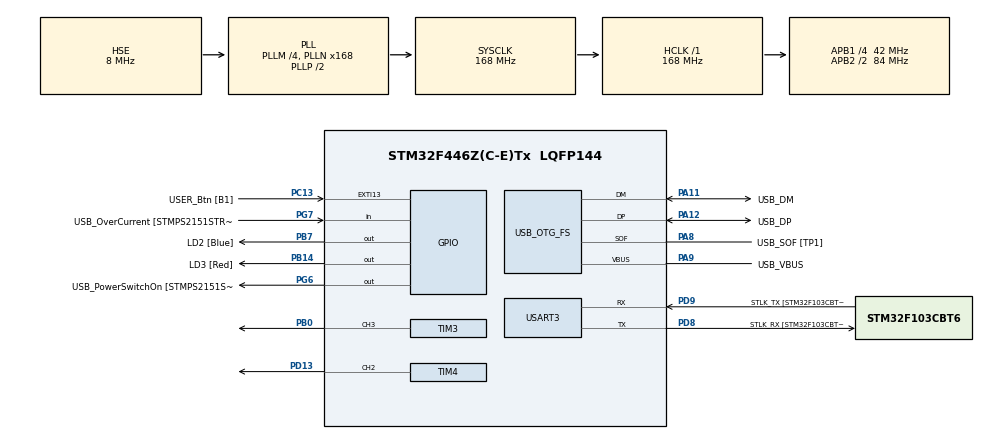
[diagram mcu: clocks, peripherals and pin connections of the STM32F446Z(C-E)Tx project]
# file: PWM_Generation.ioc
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Mcu.Family=STM32F4
Mcu.Name=STM32F446Z(C-E)Tx
Mcu.Package=LQFP144
NVIC.PriorityGroup=NVIC_PRIORITYGROUP_4
PA10.GPIO_Label=USB_ID
PA10.Signal=USB_OTG_FS_ID
PA11.GPIO_Label=USB_DM
PA11.Mode=Device_Only
PA11.Signal=USB_OTG_FS_DM
PA12.GPIO_Label=USB_DP
PA12.Mode=Device_Only
PA12.Signal=USB_OTG_FS_DP
PA13.GPIO_Label=TMS
PA13.Mode=Serial_Wire
PA13.Signal=SYS_JTMS-SWDIO
PA14.GPIO_Label=TCK
PA14.Mode=Serial_Wire
PA14.Signal=SYS_JTCK-SWCLK
PA8.GPIO_Label=USB_SOF [TP1]
PA8.Mode=Activate_SOF_FS
PA8.Signal=USB_OTG_FS_SOF
PA9.GPIO_Label=USB_VBUS
PA9.Mode=Activate_VBUS
PA9.Signal=USB_OTG_FS_VBUS
PB0.Signal=S_TIM3_CH3
PB14.GPIO_Label=LD3 [Red]
PB14.Signal=GPIO_Output
PB7.GPIO_Label=LD2 [Blue]
PB7.Signal=GPIO_Output
PC13.GPIO_Label=USER_Btn [B1]
PC13.Signal=GPXTI13
PC14-OSC32_IN.Mode=LSE-External-Oscillator
PC14-OSC32_IN.Signal=RCC_OSC32_IN
PC15-OSC32_OUT.Mode=LSE-External-Oscillator
PC15-OSC32_OUT.Signal=RCC_OSC32_OUT
PD13.Signal=S_TIM4_CH2
PD8.GPIO_Label=STLK_RX [STM32F103CBT6_PA3]
PD8.Mode=Asynchronous
PD8.Signal=USART3_TX
PD9.GPIO_Label=STLK_TX [STM32F103CBT6_PA2]
PD9.Mode=Asynchronous
PD9.Signal=USART3_RX
PG6.GPIO_Label=USB_PowerSwitchOn [STMPS2151STR_EN]
PG6.Signal=GPIO_Output
PG7.GPIO_Label=USB_OverCurrent [STMPS2151STR_FAULT]
PG7.Signal=GPIO_Input
PH0-OSC_IN.GPIO_Label=MCO [STM32F103CBT6_PA8]
PH0-OSC_IN.Mode=HSE-External-Clock-Source
PH0-OSC_IN.Signal=RCC_OSC_IN
PH1-OSC_OUT.Mode=HSE-External-Clock-Source
PH1-OSC_OUT.Signal=RCC_OSC_OUT
ProjectManager.HeapSize=0x200
ProjectManager.StackSize=0x400
ProjectManager.TargetToolchain=STM32CubeIDE
RCC.48MHZClocksFreq_Value=24000000
RCC.AHBFreq_Value=168000000
RCC.APB1CLKDivider=RCC_HCLK_DIV4
RCC.APB1Freq_Value=42000000
RCC.APB1TimFreq_Value=84000000
RCC.APB2CLKDivider=RCC_HCLK_DIV2
RCC.APB2Freq_Value=84000000
RCC.APB2TimFreq_Value=168000000
RCC.CortexFreq_Value=168000000
RCC.HCLKFreq_Value=168000000
RCC.HSE_VALUE=8000000
RCC.HSI_VALUE=16000000
RCC.PLLM=4
RCC.PLLMUL=RCC_PLL_MUL9
RCC.PLLN=168
RCC.PLLQ=7
RCC.PRESCALERUSB=RCC_USBCLKSOURCE_PLL_DIV1_5
RCC.SYSCLKFreq_VALUE=168000000
RCC.SYSCLKSource=RCC_SYSCLKSOURCE_PLLCLK
RCC.SYSCLKSourceVirtual=RCC_SYSCLKSOURCE_PLLCLK
RCC.USBFreq_Value=48000000
RCC.VCOOutputFreq_Value=336000000
SH.S_TIM3_CH3.0=TIM3_CH3,PWM Generation3 CH3
SH.S_TIM4_CH2.0=TIM4_CH2,PWM Generation2 CH2
TIM3.AutoReloadPreload=TIM_AUTORELOAD_PRELOAD_ENABLE
TIM3.Channel-PWM\ Generation3\ CH3=TIM_CHANNEL_3
TIM4.AutoReloadPreload=TIM_AUTORELOAD_PRELOAD_ENABLE
TIM4.Channel-PWM\ Generation2\ CH2=TIM_CHANNEL_2
USART3.VirtualMode=VM_ASYNC
USB_OTG_FS.VirtualMode=Device_Only
VP_TIM3_VS_ClockSourceINT.Mode=Internal
VP_TIM4_VS_ClockSourceINT.Mode=Internal
board=NUCLEO-F446ZE

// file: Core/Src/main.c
/* USER CODE BEGIN Header */
/**
  ******************************************************************************
  * @file           : main.c
  * @brief          : Main program body
  ******************************************************************************
  * @attention
  *
  * Copyright (c) 2025 STMicroelectronics.
  * All rights reserved.
  *
  * This software is licensed under terms that can be found in the LICENSE file
  * in the root directory of this software component.
  * If no LICENSE file comes with this software, it is provided AS-IS.
  *
  ******************************************************************************
  */
/* USER CODE END Header */
#include "main.h"

TIM_HandleTypeDef htim3;
TIM_HandleTypeDef htim4;

UART_HandleTypeDef huart3;

PCD_HandleTypeDef hpcd_USB_OTG_FS;

void SystemClock_Config(void);
static void MX_GPIO_Init(void);
static void MX_USART3_UART_Init(void);
static void MX_USB_OTG_FS_PCD_Init(void);
static void MX_TIM3_Init(void);
static void MX_TIM4_Init(void);

int main(void)
{

  /* MCU Configuration--------------------------------------------------------*/

  /* Reset of all peripherals, Initializes the Flash interface and the Systick. */
  HAL_Init();

  /* Configure the system clock */
  SystemClock_Config();

  /* Initialize all configured peripherals */
  MX_GPIO_Init();
  MX_USART3_UART_Init();
  MX_USB_OTG_FS_PCD_Init();
  MX_TIM3_Init();
  MX_TIM4_Init();
  /* USER CODE BEGIN 2 */
  HAL_TIM_PWM_Start(&htim3, TIM_CHANNEL_3);
  HAL_TIM_PWM_Start(&htim4, TIM_CHANNEL_2);
  /* USER CODE END 2 */

  /* Infinite loop */
  /* USER CODE BEGIN WHILE */
  while (1)
  {
	  TIM3->CCR3 = 16383;
	  HAL_Delay(2000);
	  TIM3->CCR3 = 16383*2;
	  HAL_Delay(2000);
	  TIM3->CCR3 = 16383*3;
	  HAL_Delay(2000);
	  TIM3->CCR3 = 16383*4;
	  HAL_Delay(2000);

	  TIM4->CCR2 = 16383;
	  HAL_Delay(2000);
	  TIM4->CCR2 = 16383*2;
	  HAL_Delay(2000);
	  TIM4->CCR2 = 16383*3;
	  HAL_Delay(2000);
	  TIM4->CCR2 = 16383*4;
	  HAL_Delay(2000);

    /* USER CODE END WHILE */

  }
}

void SystemClock_Config(void)
{
  RCC_OscInitTypeDef RCC_OscInitStruct = {0};
  RCC_ClkInitTypeDef RCC_ClkInitStruct = {0};

  /** Configure the main internal regulator output voltage
  */
  __HAL_RCC_PWR_CLK_ENABLE();
  __HAL_PWR_VOLTAGESCALING_CONFIG(PWR_REGULATOR_VOLTAGE_SCALE1);

  /** Initializes the RCC Oscillators according to the specified parameters
  * in the RCC_OscInitTypeDef structure.
  */
  RCC_OscInitStruct.OscillatorType = RCC_OSCILLATORTYPE_HSE;
  RCC_OscInitStruct.HSEState = RCC_HSE_BYPASS;
  RCC_OscInitStruct.PLL.PLLState = RCC_PLL_ON;
  RCC_OscInitStruct.PLL.PLLSource = RCC_PLLSOURCE_HSE;
  RCC_OscInitStruct.PLL.PLLM = 4;
  RCC_OscInitStruct.PLL.PLLN = 168;
  RCC_OscInitStruct.PLL.PLLP = RCC_PLLP_DIV2;
  RCC_OscInitStruct.PLL.PLLQ = 7;
  RCC_OscInitStruct.PLL.PLLR = 2;
  if (HAL_RCC_OscConfig(&RCC_OscInitStruct) != HAL_OK)
  {
    Error_Handler();
  }

  /** Initializes the CPU, AHB and APB buses clocks
  */
  RCC_ClkInitStruct.ClockType = RCC_CLOCKTYPE_HCLK|RCC_CLOCKTYPE_SYSCLK
                              |RCC_CLOCKTYPE_PCLK1|RCC_CLOCKTYPE_PCLK2;
  RCC_ClkInitStruct.SYSCLKSource = RCC_SYSCLKSOURCE_PLLCLK;
  RCC_ClkInitStruct.AHBCLKDivider = RCC_SYSCLK_DIV1;
  RCC_ClkInitStruct.APB1CLKDivider = RCC_HCLK_DIV4;
  RCC_ClkInitStruct.APB2CLKDivider = RCC_HCLK_DIV2;

  if (HAL_RCC_ClockConfig(&RCC_ClkInitStruct, FLASH_LATENCY_5) != HAL_OK)
  {
    Error_Handler();
  }
}

static void MX_TIM3_Init(void)
{

  TIM_ClockConfigTypeDef sClockSourceConfig = {0};
  TIM_MasterConfigTypeDef sMasterConfig = {0};
  TIM_OC_InitTypeDef sConfigOC = {0};

  htim3.Instance = TIM3;
  htim3.Init.Prescaler = 0;
  htim3.Init.CounterMode = TIM_COUNTERMODE_UP;
  htim3.Init.Period = 65535;
  htim3.Init.ClockDivision = TIM_CLOCKDIVISION_DIV1;
  htim3.Init.AutoReloadPreload = TIM_AUTORELOAD_PRELOAD_ENABLE;
  if (HAL_TIM_Base_Init(&htim3) != HAL_OK)
  {
    Error_Handler();
  }
  sClockSourceConfig.ClockSource = TIM_CLOCKSOURCE_INTERNAL;
  if (HAL_TIM_ConfigClockSource(&htim3, &sClockSourceConfig) != HAL_OK)
  {
    Error_Handler();
  }
  if (HAL_TIM_PWM_Init(&htim3) != HAL_OK)
  {
    Error_Handler();
  }
  sMasterConfig.MasterOutputTrigger = TIM_TRGO_RESET;
  sMasterConfig.MasterSlaveMode = TIM_MASTERSLAVEMODE_DISABLE;
  if (HAL_TIMEx_MasterConfigSynchronization(&htim3, &sMasterConfig) != HAL_OK)
  {
    Error_Handler();
  }
  sConfigOC.OCMode = TIM_OCMODE_PWM1;
  sConfigOC.Pulse = 0;
  sConfigOC.OCPolarity = TIM_OCPOLARITY_HIGH;
  sConfigOC.OCFastMode = TIM_OCFAST_DISABLE;
  if (HAL_TIM_PWM_ConfigChannel(&htim3, &sConfigOC, TIM_CHANNEL_3) != HAL_OK)
  {
    Error_Handler();
  }
  HAL_TIM_MspPostInit(&htim3);

}

static void MX_TIM4_Init(void)
{

  TIM_ClockConfigTypeDef sClockSourceConfig = {0};
  TIM_MasterConfigTypeDef sMasterConfig = {0};
  TIM_OC_InitTypeDef sConfigOC = {0};

  htim4.Instance = TIM4;
  htim4.Init.Prescaler = 0;
  htim4.Init.CounterMode = TIM_COUNTERMODE_UP;
  htim4.Init.Period = 65535;
  htim4.Init.ClockDivision = TIM_CLOCKDIVISION_DIV1;
  htim4.Init.AutoReloadPreload = TIM_AUTORELOAD_PRELOAD_ENABLE;
  if (HAL_TIM_Base_Init(&htim4) != HAL_OK)
  {
    Error_Handler();
  }
  sClockSourceConfig.ClockSource = TIM_CLOCKSOURCE_INTERNAL;
  if (HAL_TIM_ConfigClockSource(&htim4, &sClockSourceConfig) != HAL_OK)
  {
    Error_Handler();
  }
  if (HAL_TIM_PWM_Init(&htim4) != HAL_OK)
  {
    Error_Handler();
  }
  sMasterConfig.MasterOutputTrigger = TIM_TRGO_RESET;
  sMasterConfig.MasterSlaveMode = TIM_MASTERSLAVEMODE_DISABLE;
  if (HAL_TIMEx_MasterConfigSynchronization(&htim4, &sMasterConfig) != HAL_OK)
  {
    Error_Handler();
  }
  sConfigOC.OCMode = TIM_OCMODE_PWM1;
  sConfigOC.Pulse = 0;
  sConfigOC.OCPolarity = TIM_OCPOLARITY_HIGH;
  sConfigOC.OCFastMode = TIM_OCFAST_DISABLE;
  if (HAL_TIM_PWM_ConfigChannel(&htim4, &sConfigOC, TIM_CHANNEL_2) != HAL_OK)
  {
    Error_Handler();
  }
  HAL_TIM_MspPostInit(&htim4);

}

static void MX_USART3_UART_Init(void)
{

  huart3.Instance = USART3;
  huart3.Init.BaudRate = 115200;
  huart3.Init.WordLength = UART_WORDLENGTH_8B;
  huart3.Init.StopBits = UART_STOPBITS_1;
  huart3.Init.Parity = UART_PARITY_NONE;
  huart3.Init.Mode = UART_MODE_TX_RX;
  huart3.Init.HwFlowCtl = UART_HWCONTROL_NONE;
  huart3.Init.OverSampling = UART_OVERSAMPLING_16;
  if (HAL_UART_Init(&huart3) != HAL_OK)
  {
    Error_Handler();
  }

}

static void MX_USB_OTG_FS_PCD_Init(void)
{

  hpcd_USB_OTG_FS.Instance = USB_OTG_FS;
  hpcd_USB_OTG_FS.Init.dev_endpoints = 6;
  hpcd_USB_OTG_FS.Init.speed = PCD_SPEED_FULL;
  hpcd_USB_OTG_FS.Init.dma_enable = DISABLE;
  hpcd_USB_OTG_FS.Init.phy_itface = PCD_PHY_EMBEDDED;
  hpcd_USB_OTG_FS.Init.Sof_enable = ENABLE;
  hpcd_USB_OTG_FS.Init.low_power_enable = DISABLE;
  hpcd_USB_OTG_FS.Init.lpm_enable = DISABLE;
  hpcd_USB_OTG_FS.Init.vbus_sensing_enable = ENABLE;
  hpcd_USB_OTG_FS.Init.use_dedicated_ep1 = DISABLE;
  if (HAL_PCD_Init(&hpcd_USB_OTG_FS) != HAL_OK)
  {
    Error_Handler();
  }

}

static void MX_GPIO_Init(void)
{
  GPIO_InitTypeDef GPIO_InitStruct = {0};

  /* GPIO Ports Clock Enable */
  __HAL_RCC_GPIOC_CLK_ENABLE();
  __HAL_RCC_GPIOH_CLK_ENABLE();
  __HAL_RCC_GPIOB_CLK_ENABLE();
  __HAL_RCC_GPIOD_CLK_ENABLE();
  __HAL_RCC_GPIOG_CLK_ENABLE();
  __HAL_RCC_GPIOA_CLK_ENABLE();

  /*Configure GPIO pin Output Level */
  HAL_GPIO_WritePin(GPIOB, LD3_Pin|LD2_Pin, GPIO_PIN_RESET);

  /*Configure GPIO pin Output Level */
  HAL_GPIO_WritePin(USB_PowerSwitchOn_GPIO_Port, USB_PowerSwitchOn_Pin, GPIO_PIN_RESET);

  /*Configure GPIO pin : USER_Btn_Pin */
  GPIO_InitStruct.Pin = USER_Btn_Pin;
  GPIO_InitStruct.Mode = GPIO_MODE_IT_RISING;
  GPIO_InitStruct.Pull = GPIO_NOPULL;
  HAL_GPIO_Init(USER_Btn_GPIO_Port, &GPIO_InitStruct);

  /*Configure GPIO pins : LD3_Pin LD2_Pin */
  GPIO_InitStruct.Pin = LD3_Pin|LD2_Pin;
  GPIO_InitStruct.Mode = GPIO_MODE_OUTPUT_PP;
  GPIO_InitStruct.Pull = GPIO_NOPULL;
  GPIO_InitStruct.Speed = GPIO_SPEED_FREQ_LOW;
  HAL_GPIO_Init(GPIOB, &GPIO_InitStruct);

  /*Configure GPIO pin : USB_PowerSwitchOn_Pin */
  GPIO_InitStruct.Pin = USB_PowerSwitchOn_Pin;
  GPIO_InitStruct.Mode = GPIO_MODE_OUTPUT_PP;
  GPIO_InitStruct.Pull = GPIO_NOPULL;
  GPIO_InitStruct.Speed = GPIO_SPEED_FREQ_LOW;
  HAL_GPIO_Init(USB_PowerSwitchOn_GPIO_Port, &GPIO_InitStruct);

  /*Configure GPIO pin : USB_OverCurrent_Pin */
  GPIO_InitStruct.Pin = USB_OverCurrent_Pin;
  GPIO_InitStruct.Mode = GPIO_MODE_INPUT;
  GPIO_InitStruct.Pull = GPIO_NOPULL;
  HAL_GPIO_Init(USB_OverCurrent_GPIO_Port, &GPIO_InitStruct);

}

void Error_Handler(void)
{
  __disable_irq();
  while (1)
  {
  }
}
